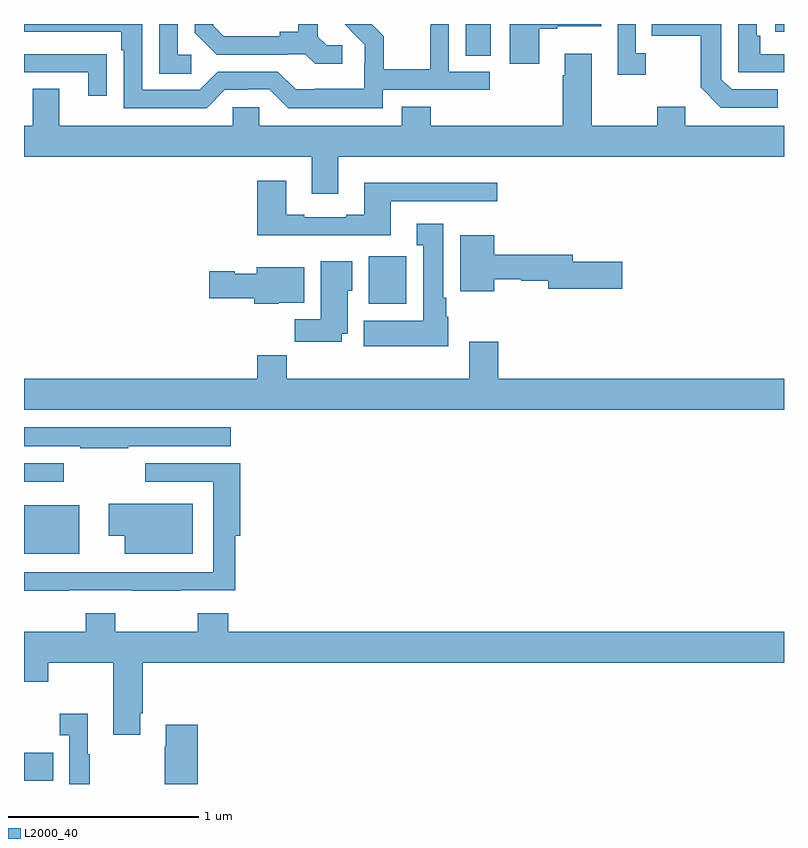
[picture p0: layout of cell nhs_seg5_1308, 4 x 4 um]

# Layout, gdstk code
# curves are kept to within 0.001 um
import gdstk
lib = gdstk.Library(unit=1e-6, precision=1e-09)
def R(c, l, rs):  # rectangles x0, y0, x1, y1
    for r in rs: c.add(gdstk.rectangle(r[:2], r[2:], *l))
def P(c, l, *ps):  # polygons
    for p in ps: c.add(gdstk.Polygon(p, *l))
L2000_40 = (2000, 40)

nhs_seg5_1308 = lib.new_cell('nhs_seg5_1308')
R(nhs_seg5_1308, L2000_40, [(191,846.815,191.153,846.963), (191,848.012,191.29,848.266), (191,848.391,191.209,848.487), (192.815,849.326,193.011,849.577), (193.325,850.633,193.456,850.799), (194.955,850.758,195,850.799)])
P(nhs_seg5_1308, L2000_40, [(192.888,850.452),(193.45,850.452),(193.45,850.548),(193.236,850.548),(193.236,850.799),(193.14,850.799),(193.14,850.784),(193.138,850.784),(193.138,850.561),(192.893,850.561),(192.893,850.735),(192.829,850.799),(192.687,850.799),(192.794,850.69),(192.794,850.593),(192.792,850.593),(192.792,850.459),(192.529,850.459),(192.529,850.455),(192.429,850.455),(192.336,850.548),(192.021,850.548),(191.925,850.452),(191.622,850.452),(191.622,850.799),(191,850.799),(191,850.758),(191.513,850.758),(191.513,850.661),(191.526,850.661),(191.526,850.356),(191.961,850.356),(192.057,850.452),(192.176,850.452),(192.176,850.455),(192.291,850.455),(192.391,850.355),(192.888,850.355)],
  [(192.676,850.686),(192.594,850.686),(192.547,850.733),(192.547,850.799),(192.443,850.799),(192.443,850.757),(192.347,850.757),(192.347,850.734),(192.052,850.734),(191.995,850.791),(191.995,850.799),(191.898,850.799),(191.898,850.754),(192.014,850.638),(192.386,850.638),(192.386,850.641),(192.48,850.641),(192.532,850.589),(192.676,850.589)],
  [(194.272,850.646),(194.22,850.646),(194.22,850.799),(194.124,850.799),(194.124,850.533),(194.272,850.533)],
  [(191.881,850.638),(191.808,850.638),(191.808,850.799),(191.712,850.799),(191.712,850.537),(191.881,850.537)],
  [(194.968,850.455),(194.724,850.455),(194.67,850.509),(194.67,850.799),(194.305,850.799),(194.305,850.738),(194.562,850.738),(194.562,850.465),(194.667,850.359),(194.968,850.359)],
  [(195,850.641),(194.876,850.641),(194.876,850.738),(194.856,850.738),(194.856,850.799),(194.76,850.799),(194.76,850.545),(195,850.545)],
  [(193.711,850.775),(193.807,850.775),(193.807,850.787),(194.038,850.787),(194.038,850.799),(193.556,850.799),(193.556,850.59),(193.711,850.59)],
  [(191.045,850.459),(191.045,850.264),(191,850.264),(191,850.1),(192.515,850.1),(192.515,849.906),(192.655,849.906),(192.655,850.1),(195,850.1),(195,850.264),(194.479,850.264),(194.479,850.363),(194.332,850.363),(194.332,850.264),(193.987,850.264),(193.987,850.642),(193.847,850.642),(193.847,850.529),(193.835,850.529),(193.835,850.264),(193.142,850.264),(193.142,850.363),(192.989,850.363),(192.989,850.264),(192.237,850.264),(192.237,850.362),(192.099,850.362),(192.099,850.264),(191.185,850.264),(191.185,850.459)],
  [(191.435,850.64),(191.333,850.64),(191.333,850.641),(191,850.641),(191,850.545),(191.339,850.545),(191.339,850.422),(191.435,850.422)],
  [(192.931,849.867),(193.492,849.867),(193.492,849.964),(192.791,849.964),(192.791,849.796),(192.695,849.796),(192.695,849.783),(192.475,849.783),(192.475,849.796),(192.379,849.796),(192.379,849.973),(192.227,849.973),(192.227,849.686),(192.931,849.686)],
  [(193.234,849.258),(193.222,849.258),(193.222,849.358),(193.207,849.358),(193.207,849.748),(193.067,849.748),(193.067,849.635),(193.1,849.635),(193.1,849.238),(192.788,849.238),(192.788,849.104),(193.234,849.104)],
  [(193.474,849.456),(193.617,849.456),(193.617,849.448),(193.76,849.448),(193.76,849.406),(194.149,849.406),(194.149,849.548),(193.888,849.548),(193.888,849.584),(193.474,849.584),(193.474,849.688),(193.295,849.688),(193.295,849.392),(193.474,849.392)],
  [(192.673,849.17),(192.703,849.17),(192.703,849.396),(192.727,849.396),(192.727,849.55),(192.563,849.55),(192.563,849.244),(192.424,849.244),(192.424,849.126),(192.673,849.126)],
  [(192.342,849.332),(192.475,849.332),(192.475,849.52),(192.224,849.52),(192.224,849.484),(192.108,849.484),(192.108,849.497),(191.976,849.497),(191.976,849.355),(192.212,849.355),(192.212,849.326),(192.342,849.326)],
  [(193.343,849.127),(193.343,848.932),(192.383,848.932),(192.383,849.056),(192.227,849.056),(192.227,848.932),(191,848.932),(191,848.768),(195,848.768),(195,848.932),(193.496,848.932),(193.496,849.127)],
  [(191.549,848.576),(192.088,848.576),(192.088,848.677),(191,848.677),(191,848.576),(191.296,848.576),(191.296,848.566),(191.549,848.566)],
  [(191.237,847.818),(191.569,847.818),(191.569,847.817),(191.825,847.817),(191.825,847.818),(192.113,847.818),(192.113,848.105),(192.137,848.105),(192.137,848.487),(191.637,848.487),(191.637,848.391),(191.997,848.391),(191.997,847.914),(191,847.914),(191,847.817),(191.237,847.817)],
  [(191.887,848.275),(191.447,848.275),(191.447,848.105),(191.531,848.105),(191.531,848.012),(191.887,848.012)],
  [(191.611,847.171),(191.624,847.171),(191.624,847.436),(195,847.436),(195,847.6),(192.074,847.6),(192.074,847.699),(191.914,847.699),(191.914,847.6),(191.481,847.6),(191.481,847.699),(191.326,847.699),(191.326,847.6),(191,847.6),(191,847.337),(191.127,847.337),(191.127,847.436),(191.471,847.436),(191.471,847.059),(191.611,847.059)],
  [(191.347,846.955),(191.335,846.955),(191.335,847.168),(191.187,847.168),(191.187,847.055),(191.238,847.055),(191.238,846.799),(191.347,846.799)],
  [(191.915,847.111),(191.747,847.111),(191.747,846.998),(191.74,846.998),(191.74,846.799),(191.915,846.799)])

lib.write_gds('nhs_seg5_1308.gds')
